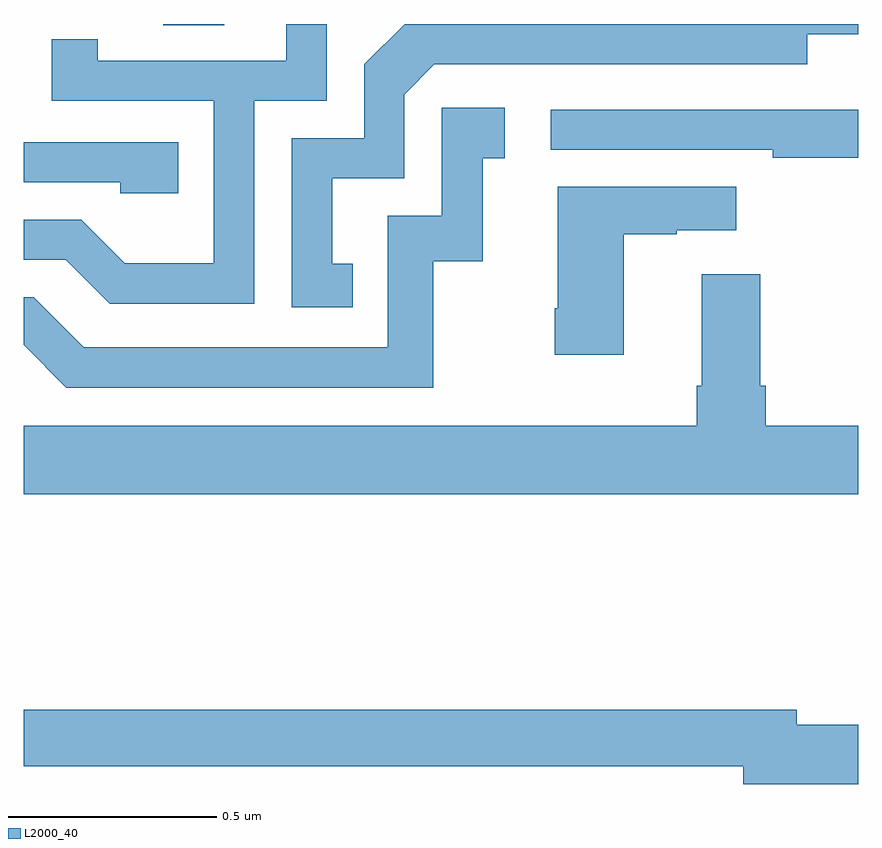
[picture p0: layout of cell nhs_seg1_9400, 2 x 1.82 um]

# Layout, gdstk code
import gdstk
lib = gdstk.Library(unit=1e-6, precision=1e-09)
def R(c, l, rs):  # rectangles x0, y0, x1, y1
    for r in rs: c.add(gdstk.rectangle(r[:2], r[2:], *l))
def P(c, l, *ps):  # polygons
    for p in ps: c.add(gdstk.Polygon(p, *l))
L2000_40 = (2000, 40)

nhs_seg1_9400 = lib.new_cell('nhs_seg1_9400')
R(nhs_seg1_9400, L2000_40, [(228.334,546.196,228.481,546.199)])
P(nhs_seg1_9400, L2000_40, [(228.788,545.625),(228.739,545.625),(228.739,545.829),(228.912,545.829),(228.912,546.03),(228.984,546.102),(229.878,546.102),(229.878,546.174),(230,546.174),(230,546.199),(229.782,546.199),(229.782,546.198),(229.322,546.198),(229.322,546.199),(228.913,546.199),(228.816,546.102),(228.816,545.925),(228.642,545.925),(228.642,545.52),(228.788,545.52)],
  [(228.552,546.015),(228.726,546.015),(228.726,546.199),(228.629,546.199),(228.629,546.111),(228.178,546.111),(228.178,546.163),(228.067,546.163),(228.067,546.015),(228.456,546.015),(228.456,545.626),(228.242,545.626),(228.138,545.73),(228,545.73),(228,545.634),(228.101,545.634),(228.206,545.529),(228.552,545.529)],
  [(228.982,545.631),(229.1,545.631),(229.1,545.877),(229.153,545.877),(229.153,545.998),(229.002,545.998),(229.002,545.739),(228.873,545.739),(228.873,545.424),(228.144,545.424),(228.024,545.544),(228,545.544),(228,545.43),(228.102,545.328),(228.982,545.328)],
  [(230,545.994),(229.263,545.994),(229.263,545.898),(229.795,545.898),(229.795,545.878),(230,545.878)],
  [(228.371,545.916),(228,545.916),(228,545.82),(228.231,545.82),(228.231,545.793),(228.371,545.793)],
  [(229.438,545.695),(229.565,545.695),(229.565,545.705),(229.708,545.705),(229.708,545.809),(229.28,545.809),(229.28,545.518),(229.273,545.518),(229.273,545.406),(229.438,545.406)],
  [(230,545.236),(229.778,545.236),(229.778,545.332),(229.765,545.332),(229.765,545.599),(229.625,545.599),(229.625,545.332),(229.613,545.332),(229.613,545.236),(228,545.236),(228,545.072),(230,545.072)],
  [(230,544.52),(229.852,544.52),(229.852,544.556),(228,544.556),(228,544.42),(229.724,544.42),(229.724,544.378),(230,544.378)])

lib.write_gds('nhs_seg1_9400.gds')
